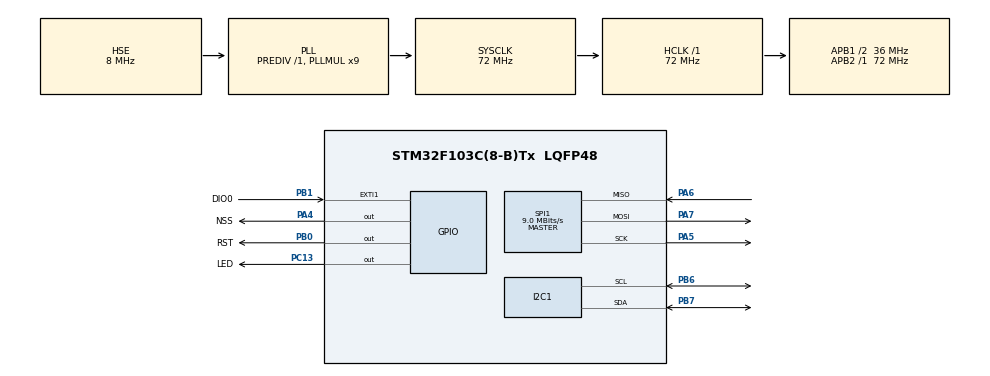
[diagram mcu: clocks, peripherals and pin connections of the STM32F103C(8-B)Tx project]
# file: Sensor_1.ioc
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Mcu.Family=STM32F1
Mcu.Name=STM32F103C(8-B)Tx
Mcu.Package=LQFP48
NVIC.EXTI1_IRQn=true\:0\:0\:false\:false\:true\:true\:true\:true
NVIC.PriorityGroup=NVIC_PRIORITYGROUP_4
PA13.Mode=Serial_Wire
PA13.Signal=SYS_JTMS-SWDIO
PA14.Mode=Serial_Wire
PA14.Signal=SYS_JTCK-SWCLK
PA4.GPIO_Label=NSS
PA4.PinState=GPIO_PIN_SET
PA4.Signal=GPIO_Output
PA5.Mode=Full_Duplex_Master
PA5.Signal=SPI1_SCK
PA6.Mode=Full_Duplex_Master
PA6.Signal=SPI1_MISO
PA7.Mode=Full_Duplex_Master
PA7.Signal=SPI1_MOSI
PB0.GPIO_Label=RST
PB0.PinState=GPIO_PIN_SET
PB0.Signal=GPIO_Output
PB1.GPIO_Label=DIO0
PB1.Signal=GPXTI1
PB6.Mode=I2C
PB6.Signal=I2C1_SCL
PB7.Mode=I2C
PB7.Signal=I2C1_SDA
PC13-TAMPER-RTC.GPIO_Label=LED
PC13-TAMPER-RTC.Signal=GPIO_Output
PD0-OSC_IN.Mode=HSE-External-Oscillator
PD0-OSC_IN.Signal=RCC_OSC_IN
PD1-OSC_OUT.Mode=HSE-External-Oscillator
PD1-OSC_OUT.Signal=RCC_OSC_OUT
ProjectManager.HeapSize=0x200
ProjectManager.StackSize=0x400
ProjectManager.TargetToolchain=STM32CubeIDE
RCC.AHBFreq_Value=72000000
RCC.APB1CLKDivider=RCC_HCLK_DIV2
RCC.APB1Freq_Value=36000000
RCC.APB1TimFreq_Value=72000000
RCC.APB2Freq_Value=72000000
RCC.APB2TimFreq_Value=72000000
RCC.HCLKFreq_Value=72000000
RCC.PLLMUL=RCC_PLL_MUL9
RCC.PLLSourceVirtual=RCC_PLLSOURCE_HSE
RCC.SYSCLKFreq_VALUE=72000000
RCC.SYSCLKSource=RCC_SYSCLKSOURCE_PLLCLK
RCC.USBFreq_Value=72000000
SPI1.BaudRatePrescaler=SPI_BAUDRATEPRESCALER_8
SPI1.CalculateBaudRate=9.0 MBits/s
SPI1.Direction=SPI_DIRECTION_2LINES
SPI1.Mode=SPI_MODE_MASTER
SPI1.VirtualType=VM_MASTER
board=custom

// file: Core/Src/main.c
/* USER CODE BEGIN Header */
/**
  ******************************************************************************
  * @file           : main.c
  * @brief          : Sensor 1
  ******************************************************************************
  * @attention
  *
  * Copyright (c) 2024 STMicroelectronics.
  * All rights reserved.
  *
  * This software is licensed under terms that can be found in the LICENSE file
  * in the root directory of this software component.
  * If no LICENSE file comes with this software, it is provided AS-IS.
  *
  ******************************************************************************
  */
/* USER CODE END Header */
#include "main.h"
#include "i2c.h"
#include "spi.h"
#include "gpio.h"

/* USER CODE BEGIN Includes */
#include <stdio.h>
#include <stdlib.h>
#include <string.h>
#include "SX1278.h"
#include "BMP280_sak.h"
#include "AHT20.h"
/* USER CODE END Includes */

/* USER CODE BEGIN PV */
// ===== Sensors =====
float temperature = 0;
float humidity = 0;
float pressure = 0;

int sensor_id = 2;
int temperature_int = 0;
int humidity_int = 0;
int pressure_int = 0;

// ===== LoRa =====
SX1278_hw_t SX1278_hw;
SX1278_t SX1278;
int receiver;
int ret;

char LoRaTxBuffer[512];
char LoRaRxBuffer[512];

char buffer[512];

int tx_message;
int message_length;
int tx_len;
int rec_sensor_id = -1;

int control_val=0;

int reverse_time;

/* ====== Timeouts =======
 	 	 1000 == 1 sec

	Sensor_1 - Main station
	Sensor_2 - First Sensor
	Sensor_3 - Second Sensor

*/
uint32_t current_time;
uint32_t inside_counter;

/* USER CODE END PV */

void SystemClock_Config(void);

/* USER CODE BEGIN 0 */

/*  ----------------------------------
 * 		LoRa Functions
 *  ----------------------------------
 */
void clearTx(){
	memset(LoRaTxBuffer,0,sizeof(LoRaTxBuffer));
}

void clearRx(){
	memset(LoRaRxBuffer,0,sizeof(LoRaRxBuffer));
}
// Puts LoRa module in receive mode
// -- LED should be off --
void LoRaSetRxMode(){
	clearRx();
	ret = SX1278_LoRaEntryRx(&SX1278, 16, 1000);
	HAL_GPIO_WritePin(LED_GPIO_Port, LED_Pin, GPIO_PIN_RESET);
	receiver = 1;
	HAL_Delay(500);
}

// Puts LoRa module in transmit mode
// -- LED should be on --
void LoRaSetTxMode(){
	clearTx();
	ret = SX1278_LoRaEntryTx(&SX1278, 16, 1000);
	HAL_GPIO_WritePin(LED_GPIO_Port, LED_Pin, GPIO_PIN_SET);
	receiver = 0;
	HAL_Delay(500);
}

//while (GPIO_PIN_RESET == HAL_GPIO_ReadPin(LED_GPIO_Port, LED_Pin));
/* USER CODE END 0 */

int main(void)
{

  /* MCU Configuration--------------------------------------------------------*/

  /* Reset of all peripherals, Initializes the Flash interface and the Systick. */
  HAL_Init();

  /* Configure the system clock */
  SystemClock_Config();

  /* Initialize all configured peripherals */
  MX_GPIO_Init();
  MX_SPI1_Init();
  MX_I2C1_Init();
  /* USER CODE BEGIN 2 */
  // ===== BMP sensor setup =====
  // SAK
  BMP280_Init(&hi2c1);
// ===== LoRa setup =====
  receiver = 0;

  control_val++;
  	//initialize LoRa module
  SX1278_hw.dio0.port = DIO0_GPIO_Port;
  SX1278_hw.dio0.pin = DIO0_Pin;
  SX1278_hw.nss.port = NSS_GPIO_Port;
  SX1278_hw.nss.pin = NSS_Pin;
  SX1278_hw.reset.port = RST_GPIO_Port;
  SX1278_hw.reset.pin = RST_Pin;
  SX1278_hw.spi = &hspi1;

  SX1278.hw = &SX1278_hw;

  control_val++;
  SX1278_init(&SX1278, 434000000, SX1278_POWER_17DBM, SX1278_LORA_SF_7,
		  SX1278_LORA_BW_125KHZ, SX1278_LORA_CR_4_5, SX1278_LORA_CRC_EN, 10);
  control_val++;

  LoRaSetRxMode();
  control_val++;
  /* USER CODE END 2 */

  /* Infinite loop */
  /* USER CODE BEGIN WHILE */
  while (1)
  {
	  ret = SX1278_LoRaRxPacket(&SX1278);
	  if (ret > 0) {
		  // Setup Timers
		  current_time = HAL_GetTick();

		  // Read buffer
		  SX1278_read(&SX1278, (uint8_t*) LoRaRxBuffer, ret);
		  sscanf(LoRaRxBuffer, "%d,%d",&rec_sensor_id, &reverse_time);

		  if(rec_sensor_id == 2){
			  LoRaSetTxMode();							// 	Go into TX mode
			  AHT20_Read(&temperature, &humidity); 	 	// Read sensor data
			  pressure = BMP280_ReadPressure(&hi2c1);
			  temperature_int = (int)temperature;
			  humidity_int = (int)humidity;
			  pressure_int = (int)pressure;

			  current_time = HAL_GetTick();
			  inside_counter = current_time + (reverse_time * 1000);

			  tx_len = sprintf(LoRaTxBuffer, "%d,%d,%d,%d",sensor_id,temperature_int, humidity_int, pressure_int);

			  while(HAL_GetTick()<=inside_counter){
				  ret = SX1278_LoRaEntryTx(&SX1278, tx_len, 2000);
				  ret = SX1278_LoRaTxPacket(&SX1278, (uint8_t*) LoRaTxBuffer,tx_len, 2000);
			  }

			  // Switch to RX mode
			  LoRaSetRxMode();
			  rec_sensor_id = -1;
		  }
	  }
  }
  /* USER CODE END 3 */
}

void SystemClock_Config(void)
{
  RCC_OscInitTypeDef RCC_OscInitStruct = {0};
  RCC_ClkInitTypeDef RCC_ClkInitStruct = {0};

  /** Initializes the RCC Oscillators according to the specified parameters
  * in the RCC_OscInitTypeDef structure.
  */
  RCC_OscInitStruct.OscillatorType = RCC_OSCILLATORTYPE_HSE;
  RCC_OscInitStruct.HSEState = RCC_HSE_ON;
  RCC_OscInitStruct.HSEPredivValue = RCC_HSE_PREDIV_DIV1;
  RCC_OscInitStruct.HSIState = RCC_HSI_ON;
  RCC_OscInitStruct.PLL.PLLState = RCC_PLL_ON;
  RCC_OscInitStruct.PLL.PLLSource = RCC_PLLSOURCE_HSE;
  RCC_OscInitStruct.PLL.PLLMUL = RCC_PLL_MUL9;
  if (HAL_RCC_OscConfig(&RCC_OscInitStruct) != HAL_OK)
  {
    Error_Handler();
  }

  /** Initializes the CPU, AHB and APB buses clocks
  */
  RCC_ClkInitStruct.ClockType = RCC_CLOCKTYPE_HCLK|RCC_CLOCKTYPE_SYSCLK
                              |RCC_CLOCKTYPE_PCLK1|RCC_CLOCKTYPE_PCLK2;
  RCC_ClkInitStruct.SYSCLKSource = RCC_SYSCLKSOURCE_PLLCLK;
  RCC_ClkInitStruct.AHBCLKDivider = RCC_SYSCLK_DIV1;
  RCC_ClkInitStruct.APB1CLKDivider = RCC_HCLK_DIV2;
  RCC_ClkInitStruct.APB2CLKDivider = RCC_HCLK_DIV1;

  if (HAL_RCC_ClockConfig(&RCC_ClkInitStruct, FLASH_LATENCY_2) != HAL_OK)
  {
    Error_Handler();
  }
}

void Error_Handler(void)
{
  __disable_irq();
  while (1)
  {
  }
}
